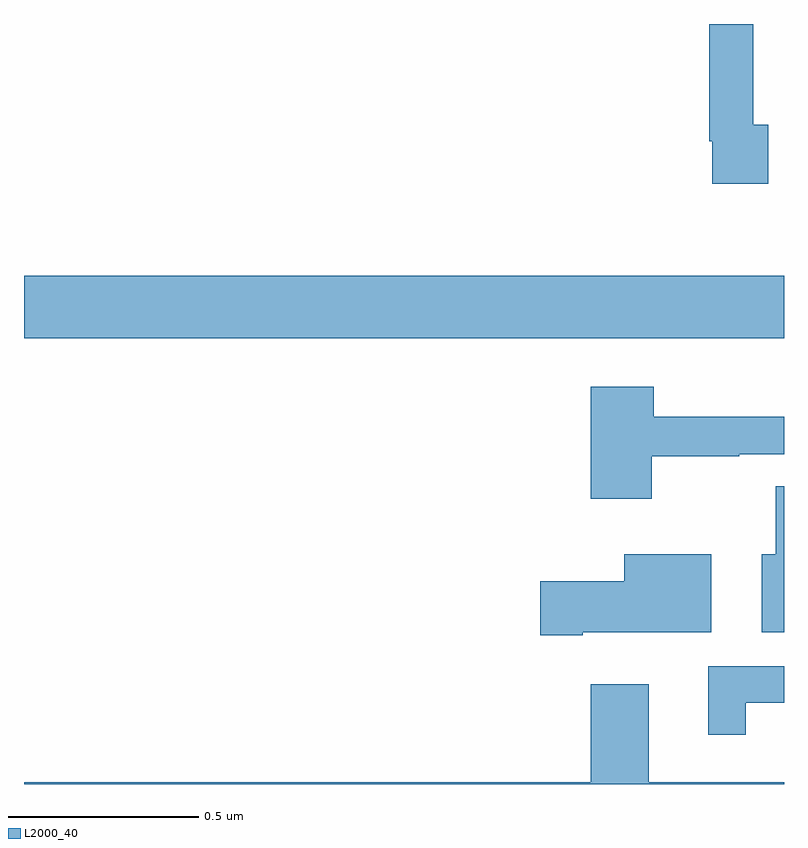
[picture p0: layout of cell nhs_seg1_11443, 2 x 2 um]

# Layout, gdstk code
import gdstk
lib = gdstk.Library(unit=1e-6, precision=1e-09)
def R(c, l, rs):  # rectangles x0, y0, x1, y1
    for r in rs: c.add(gdstk.rectangle(r[:2], r[2:], *l))
def P(c, l, *ps):  # polygons
    for p in ps: c.add(gdstk.Polygon(p, *l))
L2000_40 = (2000, 40)

nhs_seg1_11443 = lib.new_cell('nhs_seg1_11443')
R(nhs_seg1_11443, L2000_40, [(253,578.372,255,578.536)])
P(nhs_seg1_11443, L2000_40, [(254.959,578.934),(254.919,578.934),(254.919,579.199),(254.803,579.199),(254.803,578.89),(254.811,578.89),(254.811,578.778),(254.959,578.778)],
  [(254.652,578.062),(254.882,578.062),(254.882,578.067),(255,578.067),(255,578.165),(254.657,578.165),(254.657,578.245),(254.492,578.245),(254.492,577.95),(254.652,577.95)],
  [(255,577.982),(254.978,577.982),(254.978,577.804),(254.942,577.804),(254.942,577.598),(255,577.598)],
  [(254.47,577.598),(254.809,577.598),(254.809,577.804),(254.579,577.804),(254.579,577.733),(254.358,577.733),(254.358,577.591),(254.47,577.591)],
  [(254.899,577.413),(255,577.413),(255,577.509),(254.801,577.509),(254.801,577.329),(254.899,577.329)],
  [(255,577.204),(254.644,577.204),(254.644,577.462),(254.492,577.462),(254.492,577.204),(253,577.204),(253,577.199),(255,577.199)])

lib.write_gds('nhs_seg1_11443.gds')
